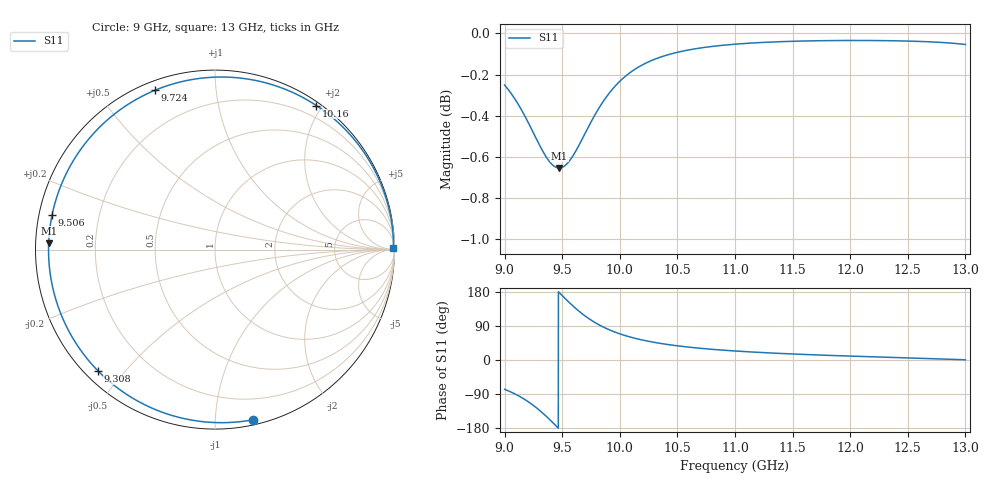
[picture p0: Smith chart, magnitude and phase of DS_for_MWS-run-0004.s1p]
! TOUCHSTONE file generated by CST DESIGN STUDIO
! Date and time: Tue Feb  4 12:46:50 2025
! Project name: C:\Work\MatlabApps\UnitCellOptimizationMatlab\CST\unitcell.cst
! Tree item: Tasks\Sweep1\SPara1\S-Parameters
! Header version: 2024
! Port assignment regex: !\s*Touchstone port\s*([0-9]+)\s*=\s*(CST MWS port|CST DES external port|CST DES block port)\s*(.+)\s* \(\"(.*)\"\)(\s*mode\s*([0-9]+))?.*
! Touchstone port assignment:
! Touchstone port 1 = CST DES external port 1 ("")
# GHz S MA R 50
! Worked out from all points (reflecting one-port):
!   4001 points, 9 GHz to 13 GHz, reference 50 ohm
!   lowest |S11| = -0.7 dB at 9.474 GHz (marker M1), VSWR 26.58, Z = 1.88 + j0.94 ohm
!   phase of S11 starts at -77 deg and turns -282 deg over the sweep
!   S11 on the Smith chart (normalised r, x): 9 GHz: 0.04, -1.25; 9.308 GHz: 0.04, -0.42; 9.506 GHz: 0.04, +0.10; 9.724 GHz: 0.04, +0.69; 10.16 GHz: 0.04, +1.93; 13 GHz: open
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9  0.9715 -77.3
9.077  0.9651 -87.7
9.175  0.9549 -104.2
9.244  0.9466 -118.5
9.308  0.9389 -134.0
9.352  0.9341 -145.9
9.398  0.9302 -159.1
9.437  0.9281 -170.9
9.474  0.9275 177.8
9.5  0.9278 169.9
9.506  0.928 168.1
9.558  0.9308 152.6
9.618  0.9363 135.9
9.67  0.9422 122.8
9.724  0.9486 110.7
9.778  0.9548 100.0
9.839  0.9611 89.7
9.918  0.9679 78.5
10  0.9736 69.0
10.165  0.9815 54.8
10.317  0.986 45.6
10.5  0.9895 37.4
10.722  0.9921 30.2
11  0.994 23.8
11.5  0.9956 15.9
12  0.9961 10.3
12.5  0.9957 5.5
13  0.9938 0.5
